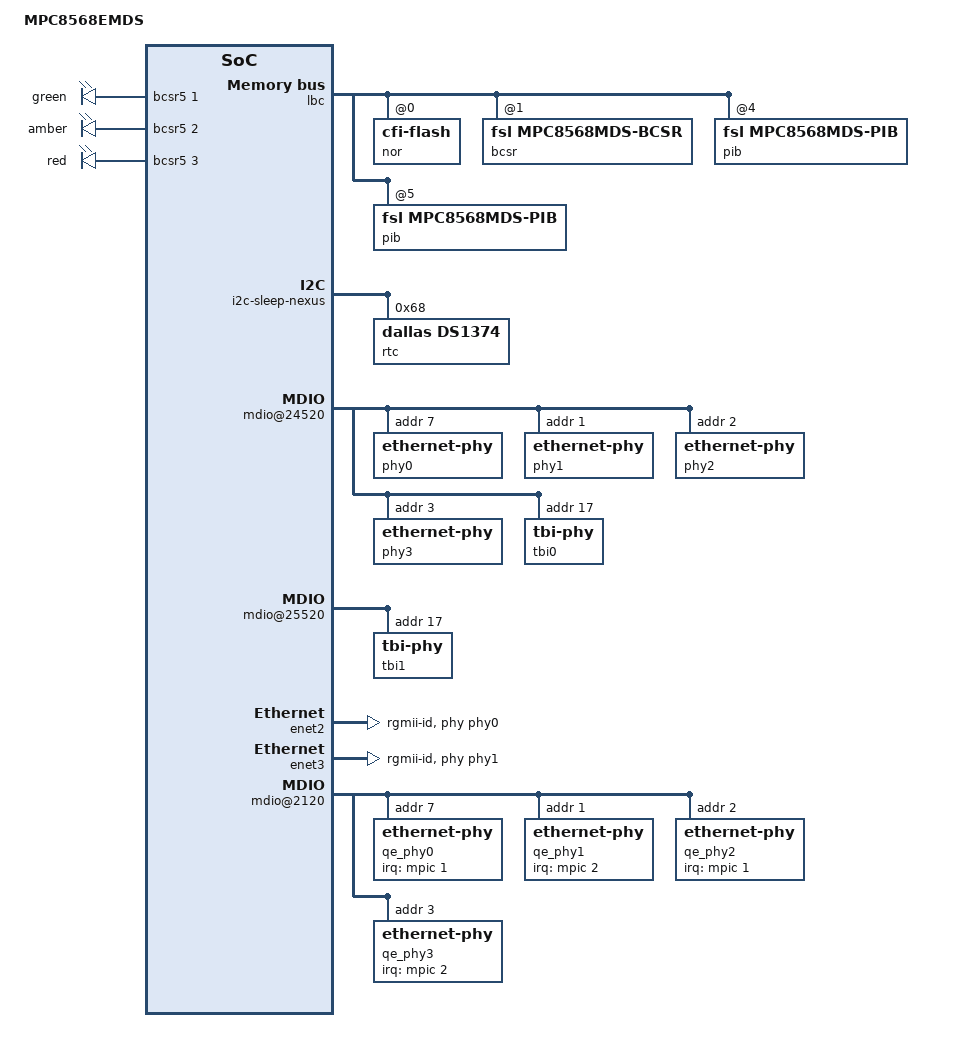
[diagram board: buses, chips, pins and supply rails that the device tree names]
// SPDX-License-Identifier: GPL-2.0-or-later
/*
 * MPC8568E MDS Device Tree Source
 *
 * Copyright 2007, 2008 Freescale Semiconductor Inc.
 */

/include/ "mpc8568si-pre.dtsi"

/ {
	model = "MPC8568EMDS";
	compatible = "MPC8568EMDS", "MPC85xxMDS";

	aliases {
		pci0 = &pci0;
		pci1 = &pci1;
		rapidio0 = &rio;
	};

	memory {
		device_type = "memory";
		reg = <0x0 0x0 0x0 0x0>;
	};

	lbc: localbus@e0005000 {
		reg = <0x0 0xe0005000 0x0 0x1000>;
		ranges = <0x0 0x0 0xfe000000 0x02000000
			  0x1 0x0 0xf8000000 0x00008000
			  0x2 0x0 0xf0000000 0x04000000
			  0x4 0x0 0xf8008000 0x00008000
			  0x5 0x0 0xf8010000 0x00008000>;

		nor@0,0 {
			#address-cells = <1>;
			#size-cells = <1>;
			compatible = "cfi-flash";
			reg = <0x0 0x0 0x02000000>;
			bank-width = <2>;
			device-width = <2>;
		};

		bcsr@1,0 {
			#address-cells = <1>;
			#size-cells = <1>;
			compatible = "fsl,mpc8568mds-bcsr";
			reg = <1 0 0x8000>;
			ranges = <0 1 0 0x8000>;

			bcsr5: gpio-controller@11 {
				#gpio-cells = <2>;
				compatible = "fsl,mpc8568mds-bcsr-gpio";
				reg = <0x5 0x1>;
				gpio-controller;
			};
		};

		pib@4,0 {
			compatible = "fsl,mpc8568mds-pib";
			reg = <4 0 0x8000>;
		};

		pib@5,0 {
			compatible = "fsl,mpc8568mds-pib";
			reg = <5 0 0x8000>;
		};
	};

	soc: soc8568@e0000000 {
		ranges = <0x0 0x0 0xe0000000 0x100000>;

		i2c-sleep-nexus {
			i2c@3000 {
				rtc@68 {
					compatible = "dallas,ds1374";
					reg = <0x68>;
					interrupts = <3 1 0 0>;
				};
			};
		};

		enet0: ethernet@24000 {
			tbi-handle = <&tbi0>;
			phy-handle = <&phy2>;
		};

		mdio@24520 {
			phy0: ethernet-phy@7 {
				interrupts = <1 1 0 0>;
				reg = <0x7>;
			};
			phy1: ethernet-phy@1 {
				interrupts = <2 1 0 0>;
				reg = <0x1>;
			};
			phy2: ethernet-phy@2 {
				interrupts = <1 1 0 0>;
				reg = <0x2>;
			};
			phy3: ethernet-phy@3 {
				interrupts = <2 1 0 0>;
				reg = <0x3>;
			};
			tbi0: tbi-phy@11 {
				reg = <0x11>;
				device_type = "tbi-phy";
			};
		};

		enet1: ethernet@25000 {
			tbi-handle = <&tbi1>;
			phy-handle = <&phy3>;
			sleep = <&pmc 0x00000040>;
		};

		mdio@25520 {
			tbi1: tbi-phy@11 {
				reg = <0x11>;
				device_type = "tbi-phy";
			};
		};

		par_io@e0100 {
			num-ports = <7>;

			pio1: ucc_pin@1 {
				pio-map = <
			/* port  pin  dir  open_drain  assignment  has_irq */
					0x4  0xa  0x1  0x0  0x2  0x0 	/* TxD0 */
					0x4  0x9  0x1  0x0  0x2  0x0 	/* TxD1 */
					0x4  0x8  0x1  0x0  0x2  0x0 	/* TxD2 */
					0x4  0x7  0x1  0x0  0x2  0x0 	/* TxD3 */
					0x4  0x17  0x1  0x0  0x2  0x0 	/* TxD4 */
					0x4  0x16  0x1  0x0  0x2  0x0 	/* TxD5 */
					0x4  0x15  0x1  0x0  0x2  0x0 	/* TxD6 */
					0x4  0x14  0x1  0x0  0x2  0x0 	/* TxD7 */
					0x4  0xf  0x2  0x0  0x2  0x0 	/* RxD0 */
					0x4  0xe  0x2  0x0  0x2  0x0 	/* RxD1 */
					0x4  0xd  0x2  0x0  0x2  0x0 	/* RxD2 */
					0x4  0xc  0x2  0x0  0x2  0x0 	/* RxD3 */
					0x4  0x1d  0x2  0x0  0x2  0x0 	/* RxD4 */
					0x4  0x1c  0x2  0x0  0x2  0x0 	/* RxD5 */
					0x4  0x1b  0x2  0x0  0x2  0x0 	/* RxD6 */
					0x4  0x1a  0x2  0x0  0x2  0x0 	/* RxD7 */
					0x4  0xb  0x1  0x0  0x2  0x0 	/* TX_EN */
					0x4  0x18  0x1  0x0  0x2  0x0 	/* TX_ER */
					0x4  0x10  0x2  0x0  0x2  0x0 	/* RX_DV */
					0x4  0x1e  0x2  0x0  0x2  0x0 	/* RX_ER */
					0x4  0x11  0x2  0x0  0x2  0x0 	/* RX_CLK */
					0x4  0x13  0x1  0x0  0x2  0x0 	/* GTX_CLK */
					0x1  0x1f  0x2  0x0  0x3  0x0>;	/* GTX125 */
			};

			pio2: ucc_pin@2 {
				pio-map = <
			/* port  pin  dir  open_drain  assignment  has_irq */
					0x5  0xa 0x1  0x0  0x2  0x0   /* TxD0 */
					0x5  0x9 0x1  0x0  0x2  0x0   /* TxD1 */
					0x5  0x8 0x1  0x0  0x2  0x0   /* TxD2 */
					0x5  0x7 0x1  0x0  0x2  0x0   /* TxD3 */
					0x5  0x17 0x1  0x0  0x2  0x0   /* TxD4 */
					0x5  0x16 0x1  0x0  0x2  0x0   /* TxD5 */
					0x5  0x15 0x1  0x0  0x2  0x0   /* TxD6 */
					0x5  0x14 0x1  0x0  0x2  0x0   /* TxD7 */
					0x5  0xf 0x2  0x0  0x2  0x0   /* RxD0 */
					0x5  0xe 0x2  0x0  0x2  0x0   /* RxD1 */
					0x5  0xd 0x2  0x0  0x2  0x0   /* RxD2 */
					0x5  0xc 0x2  0x0  0x2  0x0   /* RxD3 */
					0x5  0x1d 0x2  0x0  0x2  0x0   /* RxD4 */
					0x5  0x1c 0x2  0x0  0x2  0x0   /* RxD5 */
					0x5  0x1b 0x2  0x0  0x2  0x0   /* RxD6 */
					0x5  0x1a 0x2  0x0  0x2  0x0   /* RxD7 */
					0x5  0xb 0x1  0x0  0x2  0x0   /* TX_EN */
					0x5  0x18 0x1  0x0  0x2  0x0   /* TX_ER */
					0x5  0x10 0x2  0x0  0x2  0x0   /* RX_DV */
					0x5  0x1e 0x2  0x0  0x2  0x0   /* RX_ER */
					0x5  0x11 0x2  0x0  0x2  0x0   /* RX_CLK */
					0x5  0x13 0x1  0x0  0x2  0x0   /* GTX_CLK */
					0x1  0x1f 0x2  0x0  0x3  0x0   /* GTX125 */
					0x4  0x6 0x3  0x0  0x2  0x0   /* MDIO */
					0x4  0x5 0x1  0x0  0x2  0x0>; /* MDC */
			};
		};
	};

	qe: qe@e0080000 {
		ranges = <0x0 0x0 0xe0080000 0x40000>;
		reg = <0x0 0xe0080000 0x0 0x480>;

		spi@4c0 {
			mode = "cpu";
		};

		spi@500 {
			mode = "cpu";
		};

		enet2: ucc@2000 {
			device_type = "network";
			compatible = "ucc_geth";
			local-mac-address = [ 00 00 00 00 00 00 ];
			rx-clock-name = "none";
			tx-clock-name = "clk16";
			pio-handle = <&pio1>;
			phy-handle = <&phy0>;
			phy-connection-type = "rgmii-id";
		};

		enet3: ucc@3000 {
			device_type = "network";
			compatible = "ucc_geth";
			local-mac-address = [ 00 00 00 00 00 00 ];
			rx-clock-name = "none";
			tx-clock-name = "clk16";
			pio-handle = <&pio2>;
			phy-handle = <&phy1>;
			phy-connection-type = "rgmii-id";
		};

		mdio@2120 {
			#address-cells = <1>;
			#size-cells = <0>;
			reg = <0x2120 0x18>;
			compatible = "fsl,ucc-mdio";

			/* These are the same PHYs as on
			 * gianfar's MDIO bus */
			qe_phy0: ethernet-phy@7 {
				interrupt-parent = <&mpic>;
				interrupts = <1 1 0 0>;
				reg = <0x7>;
			};
			qe_phy1: ethernet-phy@1 {
				interrupt-parent = <&mpic>;
				interrupts = <2 1 0 0>;
				reg = <0x1>;
			};
			qe_phy2: ethernet-phy@2 {
				interrupt-parent = <&mpic>;
				interrupts = <1 1 0 0>;
				reg = <0x2>;
			};
			qe_phy3: ethernet-phy@3 {
				interrupt-parent = <&mpic>;
				interrupts = <2 1 0 0>;
				reg = <0x3>;
			};
		};
	};

	pci0: pci@e0008000 {
		reg = <0x0 0xe0008000 0x0 0x1000>;
		ranges = <0x2000000 0x0 0x80000000 0x0 0x80000000 0x0 0x20000000
			  0x1000000 0x0 0x00000000 0x0 0xe2000000 0x0 0x800000>;
		clock-frequency = <66666666>;
		interrupt-map-mask = <0xf800 0x0 0x0 0x7>;
		interrupt-map = <
			/* IDSEL 0x12 AD18 */
			0x9000 0x0 0x0 0x1 &mpic 0x5 0x1 0 0
			0x9000 0x0 0x0 0x2 &mpic 0x6 0x1 0 0
			0x9000 0x0 0x0 0x3 &mpic 0x7 0x1 0 0
			0x9000 0x0 0x0 0x4 &mpic 0x4 0x1 0 0

			/* IDSEL 0x13 AD19 */
			0x9800 0x0 0x0 0x1 &mpic 0x6 0x1 0 0
			0x9800 0x0 0x0 0x2 &mpic 0x7 0x1 0 0
			0x9800 0x0 0x0 0x3 &mpic 0x4 0x1 0 0
			0x9800 0x0 0x0 0x4 &mpic 0x5 0x1 0 0>;
	};

	/* PCI Express */
	pci1: pcie@e000a000 {
		ranges = <0x2000000 0x0 0xa0000000 0x0 0xa0000000 0x0 0x10000000
			  0x1000000 0x0 0x00000000 0x0 0xe2800000 0x0 0x800000>;
		reg = <0x0 0xe000a000 0x0 0x1000>;
		pcie@0 {
			ranges = <0x2000000 0x0 0xa0000000
				  0x2000000 0x0 0xa0000000
				  0x0 0x10000000

				  0x1000000 0x0 0x0
				  0x1000000 0x0 0x0
				  0x0 0x800000>;
		};
	};

	rio: rapidio@e00c00000 {
		reg = <0x0 0xe00c0000 0x0 0x20000>;
		port1 {
			ranges = <0x0 0x0 0x0 0xc0000000 0x0 0x20000000>;
		};
	};

	leds {
		compatible = "gpio-leds";

		green {
			gpios = <&bcsr5 1 0>;
		};

		amber {
			gpios = <&bcsr5 2 0>;
		};

		red {
			gpios = <&bcsr5 3 0>;
		};
	};
};

/include/ "mpc8568si-post.dtsi"
